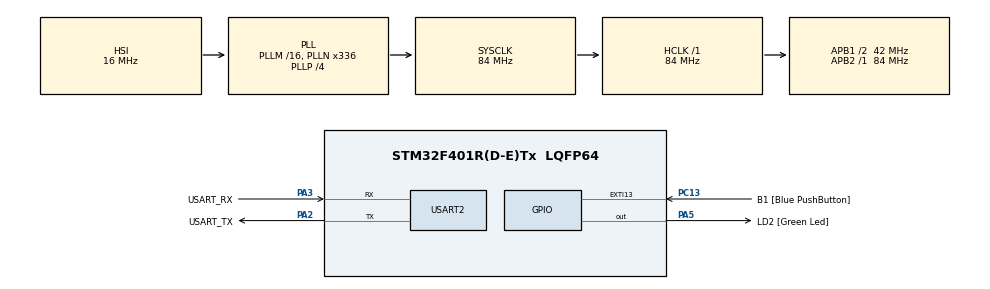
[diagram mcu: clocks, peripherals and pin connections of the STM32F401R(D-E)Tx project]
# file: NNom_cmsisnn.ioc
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Mcu.Family=STM32F4
Mcu.Name=STM32F401R(D-E)Tx
Mcu.Package=LQFP64
NVIC.PriorityGroup=NVIC_PRIORITYGROUP_0
PA13.GPIO_Label=TMS
PA13.Mode=Serial_Wire
PA13.Signal=SYS_JTMS-SWDIO
PA14.GPIO_Label=TCK
PA14.Mode=Serial_Wire
PA14.Signal=SYS_JTCK-SWCLK
PA2.GPIO_Label=USART_TX
PA2.GPIO_Mode=GPIO_MODE_AF_PP
PA2.GPIO_PuPd=GPIO_NOPULL
PA2.GPIO_Speed=GPIO_SPEED_FREQ_LOW
PA2.Mode=Asynchronous
PA2.Signal=USART2_TX
PA3.GPIO_Label=USART_RX
PA3.GPIO_Mode=GPIO_MODE_AF_PP
PA3.GPIO_PuPd=GPIO_NOPULL
PA3.GPIO_Speed=GPIO_SPEED_FREQ_LOW
PA3.Mode=Asynchronous
PA3.Signal=USART2_RX
PA5.GPIO_Label=LD2 [Green Led]
PA5.GPIO_Mode=GPIO_MODE_OUTPUT_PP
PA5.GPIO_PuPd=GPIO_NOPULL
PA5.GPIO_Speed=GPIO_SPEED_FREQ_LOW
PA5.Signal=GPIO_Output
PB3.GPIO_Label=SWO
PB3.Signal=SYS_JTDO-SWO
PC13-ANTI_TAMP.GPIO_Label=B1 [Blue PushButton]
PC13-ANTI_TAMP.GPIO_ModeDefaultEXTI=GPIO_MODE_IT_FALLING
PC13-ANTI_TAMP.GPIO_PuPd=GPIO_NOPULL
PC13-ANTI_TAMP.Signal=GPXTI13
PC14-OSC32_IN.Mode=LSE-External-Oscillator
PC14-OSC32_IN.Signal=RCC_OSC32_IN
PC15-OSC32_OUT.Mode=LSE-External-Oscillator
PC15-OSC32_OUT.Signal=RCC_OSC32_OUT
PH0\ -\ OSC_IN.Mode=HSE-External-Clock-Source
PH0\ -\ OSC_IN.Signal=RCC_OSC_IN
PH1\ -\ OSC_OUT.Mode=HSE-External-Clock-Source
PH1\ -\ OSC_OUT.Signal=RCC_OSC_OUT
ProjectManager.HeapSize=0x200
ProjectManager.StackSize=0x400
ProjectManager.TargetToolchain=STM32CubeIDE
RCC.48MHZClocksFreq_Value=48000000
RCC.AHBFreq_Value=84000000
RCC.APB1CLKDivider=RCC_HCLK_DIV2
RCC.APB1Freq_Value=42000000
RCC.APB1TimFreq_Value=84000000
RCC.APB2Freq_Value=84000000
RCC.APB2TimFreq_Value=84000000
RCC.CortexFreq_Value=84000000
RCC.HCLKFreq_Value=84000000
RCC.HSE_VALUE=8000000
RCC.HSI_VALUE=16000000
RCC.PLLN=336
RCC.PLLP=RCC_PLLP_DIV4
RCC.PLLQ=7
RCC.SYSCLKFreq_VALUE=84000000
RCC.SYSCLKSource=RCC_SYSCLKSOURCE_PLLCLK
RCC.VCOOutputFreq_Value=336000000
USART2.VirtualMode=VM_ASYNC
board=NUCLEO-F401RE

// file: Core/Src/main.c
/* USER CODE BEGIN Header */
/**
  ******************************************************************************
  * @file           : main.c
  * @brief          : Main program body
  ******************************************************************************
  * @attention
  *
  * <h2><center>&copy; Copyright (c) 2020 STMicroelectronics.
  * All rights reserved.</center></h2>
  *
  * This software component is licensed by ST under BSD 3-Clause license,
  * the "License"; You may not use this file except in compliance with the
  * License. You may obtain a copy of the License at:
  *                        opensource.org/licenses/BSD-3-Clause
  *
  ******************************************************************************
  */
/* USER CODE END Header */
#include "main.h"

/* USER CODE BEGIN Includes */
#include "nnom.h"
#include "NormalLenet.h"

/* USER CODE END Includes */

UART_HandleTypeDef huart2;

/* USER CODE BEGIN PV */
static int ioGetUint8(uint8_t *buff, int count, uint32_t timeout)
 {
 	HAL_StatusTypeDef status;

 	if ((!buff) || (count <= 0))
 		return -1;

 	status = HAL_UART_Receive(&huart2, (uint8_t *)buff, count,
 		 timeout);

 	if (status == HAL_TIMEOUT)
 		return -1;

 	return (status == HAL_OK ? count : 0);
}

int __io_putchar(int ch)
{
 uint8_t c[1];
 c[0] = ch & 0x00FF;
 HAL_UART_Transmit(&huart2, &*c, 1, 10);
 return ch;
}

int _write(int file,char *ptr, int len)
{
 int DataIdx;
 for(DataIdx= 0; DataIdx< len; DataIdx++)
 {
 __io_putchar(*ptr++);
 }
return len;
}
/* USER CODE END PV */

void SystemClock_Config(void);
static void MX_GPIO_Init(void);
static void MX_USART2_UART_Init(void);

int main(void)
{

  /* MCU Configuration--------------------------------------------------------*/

  /* Reset of all peripherals, Initializes the Flash interface and the Systick. */
  HAL_Init();

  /* Configure the system clock */
  SystemClock_Config();

  /* Initialize all configured peripherals */
  MX_GPIO_Init();
  MX_USART2_UART_Init();
  /* USER CODE BEGIN 2 */
  nnom_model_t *model;

  model = nnom_model_create();
  int reception;
  unsigned char string[3072][3];
  uint32_t firsttimestamp;
  uint32_t secondtimestamp;
  uint32_t time;
  char buf[50];
  int buf_len = 0;
  /* USER CODE END 2 */

  /* Infinite loop */
  while (1)
  {
	 reception=ioGetUint8((unsigned char *) string, 3072*3, 5000);
	 if (reception!=-1){
		for (int i = 0; i < 3072; i++) {
			if (string[i][0] == ' ') string[i][0] = '0';
			if (string[i][1] == ' ') string[i][1] = '0';
		}
		for (int i = 0; i < 3072; i++) {
			nnom_input_data[i] = (100*(int8_t)(string[i][0] - 0x30) + 10*(int8_t)(string[i][1] - 0x30) + (int8_t)(string[i][2] - 0x30));
		}

		firsttimestamp =HAL_GetTick();
		model_run(model);
		secondtimestamp= HAL_GetTick();
		time=secondtimestamp - firsttimestamp;
		unsigned char recognized_class;
		recognized_class = 0;
		for (int i = 0; i < 43; i++){
			if (nnom_output_data[i] > nnom_output_data[recognized_class]){
				recognized_class = i;
			}
		}
		// Print output of neural network along with inference time (microseconds)
		buf_len = sprintf(buf,"Output: %d, Duration: %lu\r\n",recognized_class,time);
		HAL_UART_Transmit(&huart2, (uint8_t *)buf, buf_len, 100);
	 }
  }
}

//Error: #8 Conv2D layer return error code:-3
void SystemClock_Config(void)
{
  RCC_OscInitTypeDef RCC_OscInitStruct = {0};
  RCC_ClkInitTypeDef RCC_ClkInitStruct = {0};

  /** Configure the main internal regulator output voltage
  */
  __HAL_RCC_PWR_CLK_ENABLE();
  __HAL_PWR_VOLTAGESCALING_CONFIG(PWR_REGULATOR_VOLTAGE_SCALE2);
  /** Initializes the RCC Oscillators according to the specified parameters
  * in the RCC_OscInitTypeDef structure.
  */
  RCC_OscInitStruct.OscillatorType = RCC_OSCILLATORTYPE_HSI;
  RCC_OscInitStruct.HSIState = RCC_HSI_ON;
  RCC_OscInitStruct.HSICalibrationValue = RCC_HSICALIBRATION_DEFAULT;
  RCC_OscInitStruct.PLL.PLLState = RCC_PLL_ON;
  RCC_OscInitStruct.PLL.PLLSource = RCC_PLLSOURCE_HSI;
  RCC_OscInitStruct.PLL.PLLM = 16;
  RCC_OscInitStruct.PLL.PLLN = 336;
  RCC_OscInitStruct.PLL.PLLP = RCC_PLLP_DIV4;
  RCC_OscInitStruct.PLL.PLLQ = 7;
  if (HAL_RCC_OscConfig(&RCC_OscInitStruct) != HAL_OK)
  {
    Error_Handler();
  }
  /** Initializes the CPU, AHB and APB buses clocks
  */
  RCC_ClkInitStruct.ClockType = RCC_CLOCKTYPE_HCLK|RCC_CLOCKTYPE_SYSCLK
                              |RCC_CLOCKTYPE_PCLK1|RCC_CLOCKTYPE_PCLK2;
  RCC_ClkInitStruct.SYSCLKSource = RCC_SYSCLKSOURCE_PLLCLK;
  RCC_ClkInitStruct.AHBCLKDivider = RCC_SYSCLK_DIV1;
  RCC_ClkInitStruct.APB1CLKDivider = RCC_HCLK_DIV2;
  RCC_ClkInitStruct.APB2CLKDivider = RCC_HCLK_DIV1;

  if (HAL_RCC_ClockConfig(&RCC_ClkInitStruct, FLASH_LATENCY_2) != HAL_OK)
  {
    Error_Handler();
  }
}

static void MX_USART2_UART_Init(void)
{

  huart2.Instance = USART2;
  huart2.Init.BaudRate = 115200;
  huart2.Init.WordLength = UART_WORDLENGTH_8B;
  huart2.Init.StopBits = UART_STOPBITS_1;
  huart2.Init.Parity = UART_PARITY_NONE;
  huart2.Init.Mode = UART_MODE_TX_RX;
  huart2.Init.HwFlowCtl = UART_HWCONTROL_NONE;
  huart2.Init.OverSampling = UART_OVERSAMPLING_16;
  if (HAL_UART_Init(&huart2) != HAL_OK)
  {
    Error_Handler();
  }

}

static void MX_GPIO_Init(void)
{
  GPIO_InitTypeDef GPIO_InitStruct = {0};

  /* GPIO Ports Clock Enable */
  __HAL_RCC_GPIOC_CLK_ENABLE();
  __HAL_RCC_GPIOH_CLK_ENABLE();
  __HAL_RCC_GPIOA_CLK_ENABLE();
  __HAL_RCC_GPIOB_CLK_ENABLE();

  /*Configure GPIO pin Output Level */
  HAL_GPIO_WritePin(LD2_GPIO_Port, LD2_Pin, GPIO_PIN_RESET);

  /*Configure GPIO pin : B1_Pin */
  GPIO_InitStruct.Pin = B1_Pin;
  GPIO_InitStruct.Mode = GPIO_MODE_IT_FALLING;
  GPIO_InitStruct.Pull = GPIO_NOPULL;
  HAL_GPIO_Init(B1_GPIO_Port, &GPIO_InitStruct);

  /*Configure GPIO pin : LD2_Pin */
  GPIO_InitStruct.Pin = LD2_Pin;
  GPIO_InitStruct.Mode = GPIO_MODE_OUTPUT_PP;
  GPIO_InitStruct.Pull = GPIO_NOPULL;
  GPIO_InitStruct.Speed = GPIO_SPEED_FREQ_LOW;
  HAL_GPIO_Init(LD2_GPIO_Port, &GPIO_InitStruct);

}

void Error_Handler(void)
{
}

/************************ (C) COPYRIGHT STMicroelectronics *****END OF FILE****/
